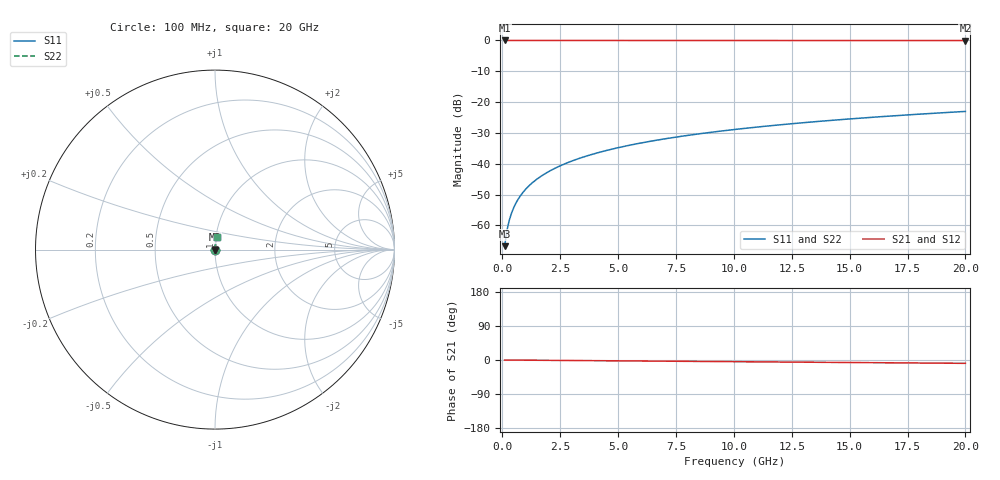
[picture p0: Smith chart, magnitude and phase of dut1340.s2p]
! Touchstone file exported from HFSS 2026.1.0
!  File:  C:/ffzhzh/LocalFiles/Ansys_Project_Files/temp_train_TSV_1340_1783195555_22436.aedt
!  Generated:  04:07:33 AM Jul  5, 2026
!  Design:  TSV
!  Project:  temp_train_TSV_1340_1783195555_22436
! Variables:
!  h_bsmrdl = 2um
!  h_ox = 20um
!  h_rdl = 5um
!  h_sub = 73.25um
!  h_tmrdl = 5um
!  h_tsv = 73.25um
!  h_via = 3um
!  l_bsmrdl = 300um
!  l_sub = 412.86um
!  l_tmrdl = 200um
!  m_sub = 200um
!  pitch = 52um
!  r_tsv = 6.43um
!  s_tmrdl = 10um
!  w_bsmrdl = 18um
!  w_sub = 500um
!  w_tmrdl = 12um
!  x_tsv_center1 = 206um
!  x_tsv_center2 = 524um
!  x_tsv_center3 = 736um
!  x_tsv_center4 = 1054um
!  x_tsv_center5 = 1266um
!  x_tsv_center6 = 1584um
# GHz S MA R 50.000000
! Terminal data exported
! Port[1] = TSV1_1_T1
! Port[2] = TSV1_1_T2
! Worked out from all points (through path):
!   200 points, 100 MHz to 20 GHz, reference 50 ohm
!   highest |S21| = 0.00 dB at 100 MHz (marker M1); lowest = 0.0 dB at 20 GHz (marker M2)
!   group delay of S21, straight-line fit = 1.22 ps
!   lowest |S11| = -66.7 dB at 100 MHz (marker M3), VSWR 1.00, Z = 50 + j0.0394 ohm
!   |S11| at or under -10 dB: start of sweep to end of sweep
!   |S22| runs from -66.7 to -23.0 dB; largest |S21 - S12| = 1.4e-15
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0.1  0.0004599 59.0  0.9998 -0.0  0.9998 -0.0  0.0004599 59.0
! Gamma 0 0 0 0
! Port Impedance 50 0 50 0
0.2  0.0008245 72.6  0.9998 -0.1  0.9998 -0.1  0.0008245 72.6
0.3  0.001205 77.5  0.9997 -0.1  0.9997 -0.1  0.001205 77.5
0.4  0.001587 79.8  0.9997 -0.2  0.9997 -0.2  0.001587 79.8
0.5  0.001967 81.2  0.9997 -0.2  0.9997 -0.2  0.001967 81.2
0.6  0.002343 82.0  0.9997 -0.3  0.9997 -0.3  0.002343 82.0
0.7  0.002717 82.6  0.9997 -0.3  0.9997 -0.3  0.002717 82.6
0.8  0.003088 83.1  0.9996 -0.4  0.9996 -0.4  0.003088 83.1
1  0.003823 83.7  0.9996 -0.5  0.9996 -0.5  0.003823 83.7
1.4  0.005279 84.5  0.9995 -0.6  0.9995 -0.6  0.005279 84.5
1.7  0.006365 84.9  0.9995 -0.8  0.9995 -0.8  0.006365 84.9
2  0.007449 85.1  0.9994 -0.9  0.9994 -0.9  0.007449 85.1
2.7  0.009972 85.4  0.9994 -1.2  0.9994 -1.2  0.009972 85.4
3.5  0.01284 85.5  0.9992 -1.6  0.9992 -1.6  0.01284 85.5
4.2  0.01535 85.4  0.9991 -1.9  0.9991 -1.9  0.01535 85.4
5  0.0182 85.2  0.999 -2.2  0.999 -2.2  0.0182 85.2
6.8  0.02457 84.8  0.9988 -3.0  0.9988 -3.0  0.02457 84.8
8.3  0.02986 84.3  0.9985 -3.7  0.9985 -3.7  0.02986 84.3
10.1  0.03618 83.7  0.9982 -4.5  0.9982 -4.5  0.03618 83.7
13.4  0.04773 82.5  0.9976 -5.9  0.9976 -5.9  0.04773 82.5
16.7  0.0592 81.2  0.9968 -7.4  0.9968 -7.4  0.0592 81.2
20  0.07057 79.9  0.9959 -8.8  0.9959 -8.8  0.07057 79.9
